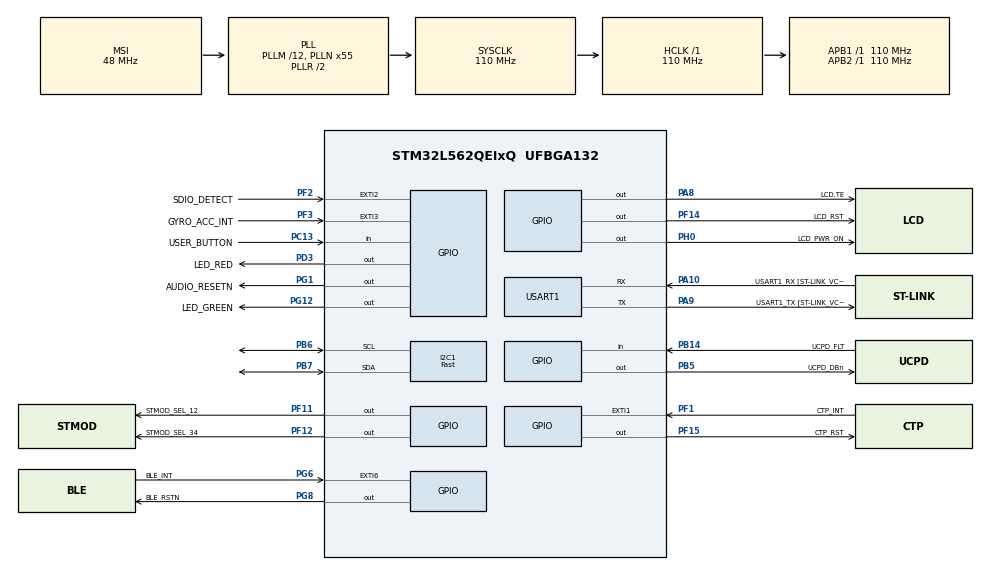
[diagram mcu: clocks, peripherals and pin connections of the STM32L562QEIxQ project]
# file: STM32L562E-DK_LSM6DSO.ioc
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I2C1.I2C_Speed_Mode=I2C_Fast
I2C1.Timing=0x00A03AC8
Mcu.Family=STM32L5
Mcu.Name=STM32L562QEIxQ
Mcu.Package=UFBGA132
Mcu.TrustZone=disable
NVIC.EXTI3_IRQn=true\:0\:0\:false\:false\:true\:true\:true\:true
NVIC.PriorityGroup=NVIC_PRIORITYGROUP_3
PA10.GPIO_Label=USART1_RX [ST-LINK_VCP_TX]
PA10.Mode=Asynchronous
PA10.Signal=USART1_RX
PA11.Signal=USB_DM
PA12.Signal=USB_DP
PA13\ (JTMS/SWDIO).Signal=DEBUG_JTMS-SWDIO
PA14\ (JTCK/SWCLK).Signal=DEBUG_JTCK-SWCLK
PA15\ (JTDI).Signal=UCPD1_CC1
PA2.Signal=OCTOSPI1_NCS
PA3.Signal=OCTOSPI1_CLK
PA4.GPIO_Label=VBUS_SENSE
PA4.Signal=ADCx_IN9
PA6.Signal=OCTOSPI1_IO3
PA7.Signal=OCTOSPI1_IO2
PA8.GPIO_Label=LCD.TE
PA8.Signal=GPIO_Output
PA9.GPIO_Label=USART1_TX [ST-LINK_VCP_RX]
PA9.Mode=Asynchronous
PA9.Signal=USART1_TX
PB0.Signal=OCTOSPI1_IO1
PB1.Signal=OCTOSPI1_IO0
PB10.Signal=LPUART1_RX
PB11.Signal=LPUART1_TX
PB12.Signal=S_DATAIN1DFSDM1
PB14.GPIO_Label=UCPD_FLT
PB14.Signal=GPIO_Input
PB15.Signal=UCPD1_CC2
PB2.Signal=OCTOSPI1_DQS
PB3\ (JTDO/TRACESWO).Signal=DEBUG_JTDO-SWO
PB5.GPIO_Label=UCPD_DBn
PB5.Signal=GPIO_Output
PB6.GPIO_Pu=GPIO_PULLUP
PB6.Mode=I2C
PB6.Signal=I2C1_SCL
PB7.GPIO_Pu=GPIO_PULLUP
PB7.Mode=I2C
PB7.Signal=I2C1_SDA
PC0.Signal=OCTOSPI1_IO7
PC1.Signal=OCTOSPI1_IO4
PC10.Signal=SDMMC1_D2
PC11.Signal=SDMMC1_D3
PC12.Signal=SDMMC1_CK
PC13.GPIO_Label=USER_BUTTON
PC13.Signal=GPIO_Input
PC14-OSC32_IN\ (PC14).Signal=RCC_OSC32_IN
PC15-OSC32_OUT\ (PC15).Signal=RCC_OSC32_OUT
PC2.Signal=OCTOSPI1_IO5
PC3.Signal=OCTOSPI1_IO6
PC8.Signal=SDMMC1_D0
PC9.Signal=SDMMC1_D1
PD0.Signal=FMC_D2_DA2
PD1.Signal=FMC_D3_DA3
PD10.Signal=FMC_D15_DA15
PD14.Signal=FMC_D0_DA0
PD15.Signal=FMC_D1_DA1
PD2.Signal=SDMMC1_CMD
PD3.GPIO_Label=LED_RED
PD3.Signal=GPIO_Output
PD4.Signal=FMC_NOE
PD5.Signal=FMC_NWE
PD7.Signal=FMC_NE1
PD8.Signal=FMC_D13_DA13
PD9.Signal=FMC_D14_DA14
PE1.GPIO_Label=LCD_BL_PWM
PE1.Signal=S_TIM17_CH1
PE10.Signal=FMC_D7_DA7
PE11.Signal=FMC_D8_DA8
PE12.Signal=FMC_D9_DA9
PE13.Signal=FMC_D10_DA10
PE14.Signal=FMC_D11_DA11
PE15.Signal=FMC_D12_DA12
PE2.Signal=SAI1_MCLK_A
PE3.Signal=SAI1_SD_B
PE4.Signal=SAI1_FS_A
PE5.Signal=SAI1_SCK_A
PE6.Signal=SAI1_SD_A
PE7.Signal=FMC_D4_DA4
PE8.Signal=FMC_D5_DA5
PE9.Signal=FMC_D6_DA6
PF0.Signal=FMC_A0
PF1.GPIO_Label=CTP_INT
PF1.Signal=GPXTI1
PF11.GPIO_Label=STMOD_SEL_12
PF11.Signal=GPIO_Output
PF12.GPIO_Label=STMOD_SEL_34
PF12.Signal=GPIO_Output
PF14.GPIO_Label=LCD_RST
PF14.Signal=GPIO_Output
PF15.GPIO_Label=CTP_RST
PF15.Signal=GPIO_Output
PF2.GPIO_Label=SDIO_DETECT
PF2.Signal=GPXTI2
PF3.GPIO_Label=GYRO_ACC_INT
PF3.Signal=GPXTI3
PG1.GPIO_Label=AUDIO_RESETN
PG1.Signal=GPIO_Output
PG12.GPIO_Label=LED_GREEN
PG12.Signal=GPIO_Output
PG2.Signal=SPI1_SCK
PG3.Signal=SPI1_MISO
PG4.Signal=SPI1_MOSI
PG5.GPIO_Label=BLE_CSN
PG5.Signal=SPI1_NSS
PG6.GPIO_Label=BLE_INT
PG6.Signal=GPXTI6
PG7.Signal=S_CKOUTDFSDM1
PG8.GPIO_Label=BLE_RSTN
PG8.Signal=GPIO_Output
PH0-OSC_IN\ (PH0).GPIO_Label=LCD_PWR_ON
PH0-OSC_IN\ (PH0).Signal=GPIO_Output
ProjectManager.HeapSize=0x200
ProjectManager.StackSize=0x400
ProjectManager.TargetToolchain=STM32CubeIDE
RCC.ADCFreq_Value=96000000
RCC.AHBFreq_Value=110000000
RCC.APB1Freq_Value=110000000
RCC.APB1TimFreq_Value=110000000
RCC.APB2Freq_Value=110000000
RCC.APB2TimFreq_Value=110000000
RCC.CK48CLockSelection=RCC_USBCLKSOURCE_MSI
RCC.CortexFreq_Value=110000000
RCC.HCLKFreq_Value=110000000
RCC.HSE_VALUE=8000000
RCC.HSI48_VALUE=48000000
RCC.HSI_VALUE=16000000
RCC.LSE_VALUE=32768
RCC.MSIClockRange=RCC_MSIRANGE_11
RCC.MSI_VALUE=48000000
RCC.PLLM=12
RCC.PLLN=55
RCC.PLLSAI1M=4
RCC.PLLSAI1N=48
RCC.PLLSAI1P=RCC_PLLP_DIV17
RCC.PLLSAI1Source=RCC_PLLSAI1SOURCE_HSI
RCC.SDMMCClockSelection=RCC_SDIOCLKSOURCE_CLK48
RCC.SYSCLKFreq_VALUE=110000000
RCC.SYSCLKSource=RCC_SYSCLKSOURCE_PLLCLK
RCC.USBFreq_Value=48000000
RCC.VCOOutputFreq_Value=220000000
SH.ADCx_IN9.0=ADC1_IN9
SH.FMC_A0.0=FMC_A0
SH.FMC_D0_DA0.0=FMC_DA0
SH.FMC_D0_DA0.1=FMC_D0
SH.FMC_D10_DA10.0=FMC_DA10
SH.FMC_D10_DA10.1=FMC_D10
SH.FMC_D11_DA11.0=FMC_DA11
SH.FMC_D11_DA11.1=FMC_D11
SH.FMC_D12_DA12.0=FMC_DA12
SH.FMC_D12_DA12.1=FMC_D12
SH.FMC_D13_DA13.0=FMC_DA13
SH.FMC_D13_DA13.1=FMC_D13
SH.FMC_D14_DA14.0=FMC_DA14
SH.FMC_D14_DA14.1=FMC_D14
SH.FMC_D15_DA15.0=FMC_DA15
SH.FMC_D15_DA15.1=FMC_D15
SH.FMC_D1_DA1.0=FMC_DA1
SH.FMC_D1_DA1.1=FMC_D1
SH.FMC_D2_DA2.0=FMC_DA2
SH.FMC_D2_DA2.1=FMC_D2
SH.FMC_D3_DA3.0=FMC_DA3
SH.FMC_D3_DA3.1=FMC_D3
SH.FMC_D4_DA4.0=FMC_DA4
SH.FMC_D4_DA4.1=FMC_D4
SH.FMC_D5_DA5.0=FMC_DA5
SH.FMC_D5_DA5.1=FMC_D5
SH.FMC_D6_DA6.0=FMC_DA6
SH.FMC_D6_DA6.1=FMC_D6
SH.FMC_D7_DA7.0=FMC_DA7
SH.FMC_D7_DA7.1=FMC_D7
SH.FMC_D8_DA8.0=FMC_DA8
SH.FMC_D8_DA8.1=FMC_D8
SH.FMC_D9_DA9.0=FMC_DA9
SH.FMC_D9_DA9.1=FMC_D9
SH.FMC_NOE.0=FMC_NOE
SH.FMC_NWE.0=FMC_NWE
SH.S_CKOUTDFSDM1.0=DFSDM1_CKOUT
SH.S_DATAIN1DFSDM1.0=DFSDM1_DATIN1
SH.S_TIM17_CH1.0=TIM17_CH1
USART1.VirtualMode-Asynchronous=VM_ASYNC
VP_PWR_VS_DBSignals.Mode=DisableDeadBatterySignals
board=STM32L562E-DK

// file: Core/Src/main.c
/**
  ******************************************************************************
  * Copyright (c) 2022 STMicroelectronics.
  * All rights reserved.
  *
  * This software is licensed under terms that can be found in the LICENSE file
  * in the root directory of this software component.
  * If no LICENSE file comes with this software, it is provided AS-IS.
  *
  ******************************************************************************
*/
#include "main.h"

/* USER CODE BEGIN Includes */
#include <string.h>
#include <stdio.h>
#include "lsm6dso_reg.h"
#include "cycle_dwt.h"
#include "NanoEdgeAI.h"

/* USER CODE END Includes */

/* USER CODE BEGIN PD */
/* Private define ------------------------------------------------------------*/
/************************************************************ NEAI algorithm defines begin ************************************************************/
/************************************************************ Global settings part ************************************************************/
#ifndef AXIS
  #define AXIS                          3                       /* Axis should be defined between 1 and 3 */
#endif
#ifndef SAMPLES
  #define SAMPLES                       128                     /* Should be between 16 & 4096 */
#endif
#define MAX_FIFO_SIZE                   256                     /* The maximum number of data we can get in the FIFO is 512 but here we define max to 256 for our need */
#define FIFO_FULL                       512                     /* FIFO full size */
#define FIFO_WORD                       7                       /* FIFO word size composed of 1 byte which is identification tag & 6 bytes of fixed data */
/************************************************************ Sensor type part ************************************************************/
#define ACCELEROMETER                                           /* Could be either ACCELEROMETER or GYROSCOPE */
/************************************************************ Sensors configuration part ************************************************************/
#ifdef ACCELEROMETER
  #ifndef ACCELEROMETER_ODR
    #define ACCELEROMETER_ODR           LSM6DSO_XL_ODR_1667Hz   /* Shoud be between LSM6DSO_XL_ODR_12Hz5 and LSM6DSO_XL_ODR_6667Hz */
  #endif
  #ifndef ACCELEROMETER_FS
    #define ACCELEROMETER_FS            LSM6DSO_2g              /* Should be between LSM6DSO_2g and LSM6DSO_16g */
  #endif
#else
  #ifndef GYROSCOPE_ODR
    #define GYROSCOPE_ODR               LSM6DSO_GY_ODR_1667Hz   /* Shoud be between LSM6DSO_GY_ODR_12Hz5 and LSM6DSO_GY_ODR_6667Hz */
  #endif
  #ifndef GYROSCOPE_FS
    #define GYROSCOPE_FS                LSM6DSO_2000dps         /* Should be between LSM6DSO_125dps and LSM6DSO_2000dps */
  #endif
#endif
/************************************************************ Datalogger / NEAI mode part ************************************************************/
#ifndef NEAI_MODE
  #define NEAI_MODE                     0                       /* 0: Datalogger mode, 1: NEAI functions mode */
#endif
#if (NEAI_MODE == 1)
  #ifndef NEAI_LEARN_NB
    #define NEAI_LEARN_NB               20                      /* Number of buffers to be learn by the NEAI library */
  #endif
#endif
/************************************************************ NEAI algorithm defines end ************************************************************/
/* USER CODE END PD */

I2C_HandleTypeDef hi2c1;

UART_HandleTypeDef huart1;

/* USER CODE BEGIN PV */
static uint8_t whoamI, rst;
uint8_t neai_similarity = 0, neai_state = 0;
volatile uint8_t drdy = 0;
uint16_t data_left = (uint16_t) SAMPLES, number_read = 0, neai_buffer_ptr = 0, neai_cnt = 0;
float neai_time = 0.0;
static float neai_buffer[AXIS * SAMPLES] = {0.0};
stmdev_ctx_t dev_ctx;

/* USER CODE END PV */

void SystemClock_Config(void);
static void MX_GPIO_Init(void);
static void MX_I2C1_Init(void);
static void MX_USART1_UART_Init(void);
/* USER CODE BEGIN PFP */
static int32_t platform_write(void *handle, uint8_t reg, const uint8_t *bufp, uint16_t len);
static int32_t platform_read(void *handle, uint8_t reg, uint8_t *bufp, uint16_t len);
static void lsm6dso_initialize(void);
static void lsm6dso_initialize_basics(void);
static void lsm6dso_initialize_fifo(void);
static void lsm6dso_get_buffer_from_fifo(uint16_t nb);
static float lsm6dso_convert_gyro_data_to_mdps(int16_t gyro_raw_data);
static float lsm6dso_convert_accel_data_to_mg(int16_t accel_raw_data);

/* USER CODE END PFP */

int main(void)
{
  /* USER CODE BEGIN 1 */
  /* Initialize mems driver interface */
  dev_ctx.write_reg = platform_write;
  dev_ctx.read_reg = platform_read;
  dev_ctx.handle = &hi2c1;

  /* USER CODE END 1 */

  /* MCU Configuration--------------------------------------------------------*/

  /* Reset of all peripherals, Initializes the Flash interface and the Systick. */
  HAL_Init();

  /* Configure the system clock */
  SystemClock_Config();

  /* Initialize all configured peripherals */
  MX_GPIO_Init();
  MX_I2C1_Init();
  MX_USART1_UART_Init();
  /* USER CODE BEGIN 2 */
  KIN1_InitCycleCounter();
  KIN1_EnableCycleCounter();
  lsm6dso_initialize();
  if (NEAI_MODE) {
    neai_state = neai_anomalydetection_init();
    printf("Initialize NEAI library. NEAI init return: %d.\n",  neai_state);
  }
  /* USER CODE END 2 */

  /* Infinite loop */
  /* USER CODE BEGIN WHILE */
  while (1)
  {
    uint8_t wtm_flag = 0, status2 = 0;
    uint16_t num = 0;
    if (drdy) {
      /* Reset data ready condition */
      drdy = 0;
      lsm6dso_read_reg(&dev_ctx, LSM6DSO_FIFO_STATUS2, &status2, 1);
      wtm_flag = status2 >> 7;
      if (wtm_flag) {
        lsm6dso_fifo_data_level_get(&dev_ctx, &num);
        if (data_left < num) {
          num = data_left;
        }
        lsm6dso_get_buffer_from_fifo(num);
        data_left -= num;
        number_read += num;
        if (data_left == 0) {
          lsm6dso_fifo_mode_set(&dev_ctx, LSM6DSO_BYPASS_MODE);
#if NEAI_MODE
          uint32_t cycles_cnt = 0;
          if (neai_cnt < NEAI_LEARN_NB) {
            neai_cnt++;
            KIN1_ResetCycleCounter();
            neai_state = neai_anomalydetection_learn(neai_buffer);
            cycles_cnt = KIN1_GetCycleCounter();
            neai_time = (cycles_cnt * 1000000.0) / HAL_RCC_GetSysClockFreq();
            printf("Learn: %d / %d. NEAI learn return: %d. Cycles counter: %ld = %.1f µs at %ld Hz.\n",
                  neai_cnt, NEAI_LEARN_NB, neai_state, cycles_cnt, neai_time, HAL_RCC_GetSysClockFreq());
          }
          else {
            KIN1_ResetCycleCounter();
            neai_state = neai_anomalydetection_detect(neai_buffer, &neai_similarity);
            cycles_cnt = KIN1_GetCycleCounter();
            neai_time = (cycles_cnt * 1000000.0) / HAL_RCC_GetSysClockFreq();
            printf("Similarity: %d / 100. NEAI detect return: %d. Cycles counter: %ld = %.1f µs at %ld Hz.\n",
                  neai_similarity, neai_state, cycles_cnt, neai_time, HAL_RCC_GetSysClockFreq());
          }
#else
          for (uint16_t i = 0; i < AXIS * SAMPLES; i++) {
            printf("%.3f ", neai_buffer[i]);
          }
          printf("\n");
#endif
          data_left = (uint16_t) SAMPLES;
          number_read = 0;
          memset(neai_buffer, 0x00, AXIS * SAMPLES * sizeof(float));
          if (SAMPLES <= MAX_FIFO_SIZE) {
            lsm6dso_fifo_watermark_set(&dev_ctx, (uint16_t) SAMPLES);
          }
          else {
            lsm6dso_fifo_watermark_set(&dev_ctx, (uint16_t) MAX_FIFO_SIZE);
          }
          lsm6dso_fifo_mode_set(&dev_ctx, LSM6DSO_FIFO_MODE);
        }
        else if (data_left < MAX_FIFO_SIZE) {
          lsm6dso_fifo_watermark_set(&dev_ctx, data_left);
        }
      }
    }
    /* USER CODE END WHILE */

  }
}

void SystemClock_Config(void)
{
  RCC_OscInitTypeDef RCC_OscInitStruct = {0};
  RCC_ClkInitTypeDef RCC_ClkInitStruct = {0};

  /** Configure the main internal regulator output voltage
  */
  if (HAL_PWREx_ControlVoltageScaling(PWR_REGULATOR_VOLTAGE_SCALE0) != HAL_OK)
  {
    Error_Handler();
  }

  /** Initializes the RCC Oscillators according to the specified parameters
  * in the RCC_OscInitTypeDef structure.
  */
  RCC_OscInitStruct.OscillatorType = RCC_OSCILLATORTYPE_MSI;
  RCC_OscInitStruct.MSIState = RCC_MSI_ON;
  RCC_OscInitStruct.MSICalibrationValue = RCC_MSICALIBRATION_DEFAULT;
  RCC_OscInitStruct.MSIClockRange = RCC_MSIRANGE_11;
  RCC_OscInitStruct.PLL.PLLState = RCC_PLL_ON;
  RCC_OscInitStruct.PLL.PLLSource = RCC_PLLSOURCE_MSI;
  RCC_OscInitStruct.PLL.PLLM = 12;
  RCC_OscInitStruct.PLL.PLLN = 55;
  RCC_OscInitStruct.PLL.PLLP = RCC_PLLP_DIV7;
  RCC_OscInitStruct.PLL.PLLQ = RCC_PLLQ_DIV2;
  RCC_OscInitStruct.PLL.PLLR = RCC_PLLR_DIV2;
  if (HAL_RCC_OscConfig(&RCC_OscInitStruct) != HAL_OK)
  {
    Error_Handler();
  }

  /** Initializes the CPU, AHB and APB buses clocks
  */
  RCC_ClkInitStruct.ClockType = RCC_CLOCKTYPE_HCLK|RCC_CLOCKTYPE_SYSCLK
                              |RCC_CLOCKTYPE_PCLK1|RCC_CLOCKTYPE_PCLK2;
  RCC_ClkInitStruct.SYSCLKSource = RCC_SYSCLKSOURCE_PLLCLK;
  RCC_ClkInitStruct.AHBCLKDivider = RCC_SYSCLK_DIV1;
  RCC_ClkInitStruct.APB1CLKDivider = RCC_HCLK_DIV1;
  RCC_ClkInitStruct.APB2CLKDivider = RCC_HCLK_DIV1;

  if (HAL_RCC_ClockConfig(&RCC_ClkInitStruct, FLASH_LATENCY_5) != HAL_OK)
  {
    Error_Handler();
  }
}

static void MX_I2C1_Init(void)
{

  hi2c1.Instance = I2C1;
  hi2c1.Init.Timing = 0x00A03AC8;
  hi2c1.Init.OwnAddress1 = 0;
  hi2c1.Init.AddressingMode = I2C_ADDRESSINGMODE_7BIT;
  hi2c1.Init.DualAddressMode = I2C_DUALADDRESS_DISABLE;
  hi2c1.Init.OwnAddress2 = 0;
  hi2c1.Init.OwnAddress2Masks = I2C_OA2_NOMASK;
  hi2c1.Init.GeneralCallMode = I2C_GENERALCALL_DISABLE;
  hi2c1.Init.NoStretchMode = I2C_NOSTRETCH_DISABLE;
  if (HAL_I2C_Init(&hi2c1) != HAL_OK)
  {
    Error_Handler();
  }

  /** Configure Analogue filter
  */
  if (HAL_I2CEx_ConfigAnalogFilter(&hi2c1, I2C_ANALOGFILTER_ENABLE) != HAL_OK)
  {
    Error_Handler();
  }

  /** Configure Digital filter
  */
  if (HAL_I2CEx_ConfigDigitalFilter(&hi2c1, 0) != HAL_OK)
  {
    Error_Handler();
  }

}

static void MX_USART1_UART_Init(void)
{

  huart1.Instance = USART1;
  huart1.Init.BaudRate = 115200;
  huart1.Init.WordLength = UART_WORDLENGTH_8B;
  huart1.Init.StopBits = UART_STOPBITS_1;
  huart1.Init.Parity = UART_PARITY_NONE;
  huart1.Init.Mode = UART_MODE_TX_RX;
  huart1.Init.HwFlowCtl = UART_HWCONTROL_NONE;
  huart1.Init.OverSampling = UART_OVERSAMPLING_16;
  huart1.Init.OneBitSampling = UART_ONE_BIT_SAMPLE_DISABLE;
  huart1.Init.ClockPrescaler = UART_PRESCALER_DIV1;
  huart1.AdvancedInit.AdvFeatureInit = UART_ADVFEATURE_NO_INIT;
  if (HAL_UART_Init(&huart1) != HAL_OK)
  {
    Error_Handler();
  }
  if (HAL_UARTEx_SetTxFifoThreshold(&huart1, UART_TXFIFO_THRESHOLD_1_8) != HAL_OK)
  {
    Error_Handler();
  }
  if (HAL_UARTEx_SetRxFifoThreshold(&huart1, UART_RXFIFO_THRESHOLD_1_8) != HAL_OK)
  {
    Error_Handler();
  }
  if (HAL_UARTEx_DisableFifoMode(&huart1) != HAL_OK)
  {
    Error_Handler();
  }

}

static void MX_GPIO_Init(void)
{
  GPIO_InitTypeDef GPIO_InitStruct = {0};

  /* GPIO Ports Clock Enable */
  __HAL_RCC_GPIOE_CLK_ENABLE();
  __HAL_RCC_GPIOB_CLK_ENABLE();
  __HAL_RCC_GPIOG_CLK_ENABLE();
  HAL_PWREx_EnableVddIO2();
  __HAL_RCC_GPIOD_CLK_ENABLE();
  __HAL_RCC_GPIOC_CLK_ENABLE();
  __HAL_RCC_GPIOA_CLK_ENABLE();
  __HAL_RCC_GPIOF_CLK_ENABLE();
  __HAL_RCC_GPIOH_CLK_ENABLE();

  /*Configure GPIO pin Output Level */
  HAL_GPIO_WritePin(GPIOG, LED_GREEN_Pin|BLE_RSTN_Pin|AUDIO_RESETN_Pin, GPIO_PIN_RESET);

  /*Configure GPIO pin Output Level */
  HAL_GPIO_WritePin(LED_RED_GPIO_Port, LED_RED_Pin, GPIO_PIN_RESET);

  /*Configure GPIO pin Output Level */
  HAL_GPIO_WritePin(UCPD_DBn_GPIO_Port, UCPD_DBn_Pin, GPIO_PIN_RESET);

  /*Configure GPIO pin Output Level */
  HAL_GPIO_WritePin(LCD_TE_GPIO_Port, LCD_TE_Pin, GPIO_PIN_RESET);

  /*Configure GPIO pin Output Level */
  HAL_GPIO_WritePin(LCD_PWR_ON_GPIO_Port, LCD_PWR_ON_Pin, GPIO_PIN_RESET);

  /*Configure GPIO pin Output Level */
  HAL_GPIO_WritePin(GPIOF, LCD_RST_Pin|STMOD_SEL_12_Pin|STMOD_SEL_34_Pin|CTP_RST_Pin, GPIO_PIN_RESET);

  /*Configure GPIO pins : PE5 PE3 PE4 PE2
                           PE6 */
  GPIO_InitStruct.Pin = GPIO_PIN_5|GPIO_PIN_3|GPIO_PIN_4|GPIO_PIN_2
                          |GPIO_PIN_6;
  GPIO_InitStruct.Mode = GPIO_MODE_AF_PP;
  GPIO_InitStruct.Pull = GPIO_NOPULL;
  GPIO_InitStruct.Speed = GPIO_SPEED_FREQ_LOW;
  GPIO_InitStruct.Alternate = GPIO_AF13_SAI1;
  HAL_GPIO_Init(GPIOE, &GPIO_InitStruct);

  /*Configure GPIO pin : LCD_BL_PWM_Pin */
  GPIO_InitStruct.Pin = LCD_BL_PWM_Pin;
  GPIO_InitStruct.Mode = GPIO_MODE_AF_PP;
  GPIO_InitStruct.Pull = GPIO_NOPULL;
  GPIO_InitStruct.Speed = GPIO_SPEED_FREQ_LOW;
  GPIO_InitStruct.Alternate = GPIO_AF14_TIM17;
  HAL_GPIO_Init(LCD_BL_PWM_GPIO_Port, &GPIO_InitStruct);

  /*Configure GPIO pins : LED_GREEN_Pin BLE_RSTN_Pin AUDIO_RESETN_Pin */
  GPIO_InitStruct.Pin = LED_GREEN_Pin|BLE_RSTN_Pin|AUDIO_RESETN_Pin;
  GPIO_InitStruct.Mode = GPIO_MODE_OUTPUT_PP;
  GPIO_InitStruct.Pull = GPIO_NOPULL;
  GPIO_InitStruct.Speed = GPIO_SPEED_FREQ_LOW;
  HAL_GPIO_Init(GPIOG, &GPIO_InitStruct);

  /*Configure GPIO pins : PD5 PD4 PD1 PD0
                           PD7 PD14 PD15 PD9
                           PD8 PD10 */
  GPIO_InitStruct.Pin = GPIO_PIN_5|GPIO_PIN_4|GPIO_PIN_1|GPIO_PIN_0
                          |GPIO_PIN_7|GPIO_PIN_14|GPIO_PIN_15|GPIO_PIN_9
                          |GPIO_PIN_8|GPIO_PIN_10;
  GPIO_InitStruct.Mode = GPIO_MODE_AF_PP;
  GPIO_InitStruct.Pull = GPIO_NOPULL;
  GPIO_InitStruct.Speed = GPIO_SPEED_FREQ_VERY_HIGH;
  GPIO_InitStruct.Alternate = GPIO_AF12_FMC;
  HAL_GPIO_Init(GPIOD, &GPIO_InitStruct);

  /*Configure GPIO pin : PD2 */
  GPIO_InitStruct.Pin = GPIO_PIN_2;
  GPIO_InitStruct.Mode = GPIO_MODE_AF_PP;
  GPIO_InitStruct.Pull = GPIO_NOPULL;
  GPIO_InitStruct.Speed = GPIO_SPEED_FREQ_VERY_HIGH;
  GPIO_InitStruct.Alternate = GPIO_AF12_SDMMC1;
  HAL_GPIO_Init(GPIOD, &GPIO_InitStruct);

  /*Configure GPIO pins : PC11 PC12 PC10 PC9
                           PC8 */
  GPIO_InitStruct.Pin = GPIO_PIN_11|GPIO_PIN_12|GPIO_PIN_10|GPIO_PIN_9
                          |GPIO_PIN_8;
  GPIO_InitStruct.Mode = GPIO_MODE_AF_PP;
  GPIO_InitStruct.Pull = GPIO_NOPULL;
  GPIO_InitStruct.Speed = GPIO_SPEED_FREQ_VERY_HIGH;
  GPIO_InitStruct.Alternate = GPIO_AF12_SDMMC1;
  HAL_GPIO_Init(GPIOC, &GPIO_InitStruct);

  /*Configure GPIO pins : PA15 VBUS_SENSE_Pin */
  GPIO_InitStruct.Pin = GPIO_PIN_15|VBUS_SENSE_Pin;
  GPIO_InitStruct.Mode = GPIO_MODE_ANALOG;
  GPIO_InitStruct.Pull = GPIO_NOPULL;
  HAL_GPIO_Init(GPIOA, &GPIO_InitStruct);

  /*Configure GPIO pins : PA12 PA11 */
  GPIO_InitStruct.Pin = GPIO_PIN_12|GPIO_PIN_11;
  GPIO_InitStruct.Mode = GPIO_MODE_AF_PP;
  GPIO_InitStruct.Pull = GPIO_NOPULL;
  GPIO_InitStruct.Speed = GPIO_SPEED_FREQ_LOW;
  GPIO_InitStruct.Alternate = GPIO_AF10_USB;
  HAL_GPIO_Init(GPIOA, &GPIO_InitStruct);

  /*Configure GPIO pin : USER_BUTTON_Pin */
  GPIO_InitStruct.Pin = USER_BUTTON_Pin;
  GPIO_InitStruct.Mode = GPIO_MODE_INPUT;
  GPIO_InitStruct.Pull = GPIO_NOPULL;
  HAL_GPIO_Init(USER_BUTTON_GPIO_Port, &GPIO_InitStruct);

  /*Configure GPIO pin : LED_RED_Pin */
  GPIO_InitStruct.Pin = LED_RED_Pin;
  GPIO_InitStruct.Mode = GPIO_MODE_OUTPUT_PP;
  GPIO_InitStruct.Pull = GPIO_NOPULL;
  GPIO_InitStruct.Speed = GPIO_SPEED_FREQ_LOW;
  HAL_GPIO_Init(LED_RED_GPIO_Port, &GPIO_InitStruct);

  /*Configure GPIO pin : PF0 */
  GPIO_InitStruct.Pin = GPIO_PIN_0;
  GPIO_InitStruct.Mode = GPIO_MODE_AF_PP;
  GPIO_InitStruct.Pull = GPIO_NOPULL;
  GPIO_InitStruct.Speed = GPIO_SPEED_FREQ_VERY_HIGH;
  GPIO_InitStruct.Alternate = GPIO_AF12_FMC;
  HAL_GPIO_Init(GPIOF, &GPIO_InitStruct);

  /*Configure GPIO pins : GYRO_ACC_INT_Pin SDIO_DETECT_Pin CTP_INT_Pin */
  GPIO_InitStruct.Pin = GYRO_ACC_INT_Pin|SDIO_DETECT_Pin|CTP_INT_Pin;
  GPIO_InitStruct.Mode = GPIO_MODE_IT_RISING;
  GPIO_InitStruct.Pull = GPIO_NOPULL;
  HAL_GPIO_Init(GPIOF, &GPIO_InitStruct);

  /*Configure GPIO pin : UCPD_DBn_Pin */
  GPIO_InitStruct.Pin = UCPD_DBn_Pin;
  GPIO_InitStruct.Mode = GPIO_MODE_OUTPUT_PP;
  GPIO_InitStruct.Pull = GPIO_NOPULL;
  GPIO_InitStruct.Speed = GPIO_SPEED_FREQ_LOW;
  HAL_GPIO_Init(UCPD_DBn_GPIO_Port, &GPIO_InitStruct);

  /*Configure GPIO pin : LCD_TE_Pin */
  GPIO_InitStruct.Pin = LCD_TE_Pin;
  GPIO_InitStruct.Mode = GPIO_MODE_OUTPUT_PP;
  GPIO_InitStruct.Pull = GPIO_NOPULL;
  GPIO_InitStruct.Speed = GPIO_SPEED_FREQ_LOW;
  HAL_GPIO_Init(LCD_TE_GPIO_Port, &GPIO_InitStruct);

  /*Configure GPIO pin : LCD_PWR_ON_Pin */
  GPIO_InitStruct.Pin = LCD_PWR_ON_Pin;
  GPIO_InitStruct.Mode = GPIO_MODE_OUTPUT_PP;
  GPIO_InitStruct.Pull = GPIO_NOPULL;
  GPIO_InitStruct.Speed = GPIO_SPEED_FREQ_LOW;
  HAL_GPIO_Init(LCD_PWR_ON_GPIO_Port, &GPIO_InitStruct);

  /*Configure GPIO pins : PC2 PC3 PC1 */
  GPIO_InitStruct.Pin = GPIO_PIN_2|GPIO_PIN_3|GPIO_PIN_1;
  GPIO_InitStruct.Mode = GPIO_MODE_AF_PP;
  GPIO_InitStruct.Pull = GPIO_NOPULL;
  GPIO_InitStruct.Speed = GPIO_SPEED_FREQ_VERY_HIGH;
  GPIO_InitStruct.Alternate = GPIO_AF10_OCTOSPI1;
  HAL_GPIO_Init(GPIOC, &GPIO_InitStruct);

  /*Configure GPIO pin : BLE_INT_Pin */
  GPIO_InitStruct.Pin = BLE_INT_Pin;
  GPIO_InitStruct.Mode = GPIO_MODE_IT_RISING;
  GPIO_InitStruct.Pull = GPIO_NOPULL;
  HAL_GPIO_Init(BLE_INT_GPIO_Port, &GPIO_InitStruct);

  /*Configure GPIO pin : PG7 */
  GPIO_InitStruct.Pin = GPIO_PIN_7;
  GPIO_InitStruct.Mode = GPIO_MODE_AF_PP;
  GPIO_InitStruct.Pull = GPIO_NOPULL;
  GPIO_InitStruct.Speed = GPIO_SPEED_FREQ_LOW;
  GPIO_InitStruct.Alternate = GPIO_AF6_DFSDM1;
  HAL_GPIO_Init(GPIOG, &GPIO_InitStruct);

  /*Configure GPIO pins : PG4 PG2 PG3 BLE_CSN_Pin */
  GPIO_InitStruct.Pin = GPIO_PIN_4|GPIO_PIN_2|GPIO_PIN_3|BLE_CSN_Pin;
  GPIO_InitStruct.Mode = GPIO_MODE_AF_PP;
  GPIO_InitStruct.Pull = GPIO_NOPULL;
  GPIO_InitStruct.Speed = GPIO_SPEED_FREQ_LOW;
  GPIO_InitStruct.Alternate = GPIO_AF5_SPI1;
  HAL_GPIO_Init(GPIOG, &GPIO_InitStruct);

  /*Configure GPIO pin : PC0 */
  GPIO_InitStruct.Pin = GPIO_PIN_0;
  GPIO_InitStruct.Mode = GPIO_MODE_AF_PP;
  GPIO_InitStruct.Pull = GPIO_NOPULL;
  GPIO_InitStruct.Speed = GPIO_SPEED_FREQ_VERY_HIGH;
  GPIO_InitStruct.Alternate = GPIO_AF3_OCTOSPI1;
  HAL_GPIO_Init(GPIOC, &GPIO_InitStruct);

  /*Configure GPIO pins : LCD_RST_Pin STMOD_SEL_12_Pin STMOD_SEL_34_Pin CTP_RST_Pin */
  GPIO_InitStruct.Pin = LCD_RST_Pin|STMOD_SEL_12_Pin|STMOD_SEL_34_Pin|CTP_RST_Pin;
  GPIO_InitStruct.Mode = GPIO_MODE_OUTPUT_PP;
  GPIO_InitStruct.Pull = GPIO_NOPULL;
  GPIO_InitStruct.Speed = GPIO_SPEED_FREQ_LOW;
  HAL_GPIO_Init(GPIOF, &GPIO_InitStruct);

  /*Configure GPIO pins : PE8 PE10 PE12 PE7
                           PE14 PE11 PE15 PE9
                           PE13 */
  GPIO_InitStruct.Pin = GPIO_PIN_8|GPIO_PIN_10|GPIO_PIN_12|GPIO_PIN_7
                          |GPIO_PIN_14|GPIO_PIN_11|GPIO_PIN_15|GPIO_PIN_9
                          |GPIO_PIN_13;
  GPIO_InitStruct.Mode = GPIO_MODE_AF_PP;
  GPIO_InitStruct.Pull = GPIO_NOPULL;
  GPIO_InitStruct.Speed = GPIO_SPEED_FREQ_VERY_HIGH;
  GPIO_InitStruct.Alternate = GPIO_AF12_FMC;
  HAL_GPIO_Init(GPIOE, &GPIO_InitStruct);

  /*Configure GPIO pins : PA2 PA7 PA3 PA6 */
  GPIO_InitStruct.Pin = GPIO_PIN_2|GPIO_PIN_7|GPIO_PIN_3|GPIO_PIN_6;
  GPIO_InitStruct.Mode = GPIO_MODE_AF_PP;
  GPIO_InitStruct.Pull = GPIO_NOPULL;
  GPIO_InitStruct.Speed = GPIO_SPEED_FREQ_VERY_HIGH;
  GPIO_InitStruct.Alternate = GPIO_AF10_OCTOSPI1;
  HAL_GPIO_Init(GPIOA, &GPIO_InitStruct);

  /*Configure GPIO pins : PB2 PB1 PB0 */
  GPIO_InitStruct.Pin = GPIO_PIN_2|GPIO_PIN_1|GPIO_PIN_0;
  GPIO_InitStruct.Mode = GPIO_MODE_AF_PP;
  GPIO_InitStruct.Pull = GPIO_NOPULL;
  GPIO_InitStruct.Speed = GPIO_SPEED_FREQ_VERY_HIGH;
  GPIO_InitStruct.Alternate = GPIO_AF10_OCTOSPI1;
  HAL_GPIO_Init(GPIOB, &GPIO_InitStruct);

  /*Configure GPIO pins : PB10 PB11 */
  GPIO_InitStruct.Pin = GPIO_PIN_10|GPIO_PIN_11;
  GPIO_InitStruct.Mode = GPIO_MODE_AF_PP;
  GPIO_InitStruct.Pull = GPIO_NOPULL;
  GPIO_InitStruct.Speed = GPIO_SPEED_FREQ_LOW;
  GPIO_InitStruct.Alternate = GPIO_AF8_LPUART1;
  HAL_GPIO_Init(GPIOB, &GPIO_InitStruct);

  /*Configure GPIO pin : UCPD_FLT_Pin */
  GPIO_InitStruct.Pin = UCPD_FLT_Pin;
  GPIO_InitStruct.Mode = GPIO_MODE_INPUT;
  GPIO_InitStruct.Pull = GPIO_NOPULL;
  HAL_GPIO_Init(UCPD_FLT_GPIO_Port, &GPIO_InitStruct);

  /*Configure GPIO pin : PB15 */
  GPIO_InitStruct.Pin = GPIO_PIN_15;
  GPIO_InitStruct.Mode = GPIO_MODE_ANALOG;
  GPIO_InitStruct.Pull = GPIO_NOPULL;
  HAL_GPIO_Init(GPIOB, &GPIO_InitStruct);

  /*Configure GPIO pin : PB12 */
  GPIO_InitStruct.Pin = GPIO_PIN_12;
  GPIO_InitStruct.Mode = GPIO_MODE_AF_PP;
  GPIO_InitStruct.Pull = GPIO_NOPULL;
  GPIO_InitStruct.Speed = GPIO_SPEED_FREQ_LOW;
  GPIO_InitStruct.Alternate = GPIO_AF6_DFSDM1;
  HAL_GPIO_Init(GPIOB, &GPIO_InitStruct);

  /* EXTI interrupt init*/
  HAL_NVIC_SetPriority(EXTI3_IRQn, 0, 0);
  HAL_NVIC_EnableIRQ(EXTI3_IRQn);

}

/* USER CODE BEGIN 4 */
/**
  * @brief  Redirecting stdout to USART1 which is connected on the STLINK port
  * @retval
  * @param
  */
int __io_putchar(int ch)
{
 uint8_t c[1];
 c[0] = ch & 0x00FF;
 HAL_UART_Transmit(&huart1, &*c, 1, 10);
 return ch;
}

/**
  * @brief  EXTI line rising detection callback.
  * @param  GPIO_Pin Specifies the port pin connected to corresponding EXTI line.
  * @retval None
  */
void HAL_GPIO_EXTI_Rising_Callback(uint16_t GPIO_Pin)
{
  switch(GPIO_Pin) {
  case GYRO_ACC_INT_Pin:
    drdy = 1;
    break;
  }
}

/*
 * @brief  Write generic device register (platform dependent)
 *
 * @param  handle    customizable argument. In this examples is used in
 *                   order to select the correct sensor bus handler.
 * @param  reg       register to write
 * @param  bufp      pointer to data to write in register reg
 * @param  len       number of consecutive register to write
 *
 */
static int32_t platform_write(void *handle, uint8_t reg, const uint8_t *bufp,
                              uint16_t len)
{
  HAL_I2C_Mem_Write(handle, LSM6DSO_I2C_ADD_L, reg, I2C_MEMADD_SIZE_8BIT, (uint8_t*) bufp, len, 1000);
  return 0;
}

/*
 * @brief  Read generic device register (platform dependent)
 *
 * @param  handle    customizable argument. In this examples is used in
 *                   order to select the correct sensor bus handler.
 * @param  reg       register to read
 * @param  bufp      pointer to buffer that store the data read
 * @param  len       number of consecutive register to read
 *
 */
static int32_t platform_read(void *handle, uint8_t reg, uint8_t *bufp,
                             uint16_t len)
{
  HAL_I2C_Mem_Read(handle, LSM6DSO_I2C_ADD_L, reg, I2C_MEMADD_SIZE_8BIT, bufp, len, 1000);
  return 0;
}

/*
 * @brief  Initialize LSM6DSO sensor interface
 *
 * @param  No
 *
 * @return No
 *
 */
static void lsm6dso_initialize()
{
  lsm6dso_initialize_basics();
#ifdef ACCELEROMETER
  /* Accelelerometer configuration */
  lsm6dso_xl_data_rate_set(&dev_ctx, ACCELEROMETER_ODR);
  lsm6dso_xl_full_scale_set(&dev_ctx, ACCELEROMETER_FS);
#else
  /* Gyroscope configuration */
  lsm6dso_gy_data_rate_set(&dev_ctx, GYROSCOPE_ODR);
  lsm6dso_gy_full_scale_set(&dev_ctx, GYROSCOPE_FS);
#endif
  lsm6dso_initialize_fifo();
}

/*
 * @brief  Initialize LSM6DSO basics
 *
 * @param  No
 *
 * @return No
 *
 */
static void lsm6dso_initialize_basics()
{
  /* Check device ID */
  whoamI = 0;

  do {
    /* Wait sensor boot time */
    HAL_Delay(10);
    lsm6dso_device_id_get(&dev_ctx, &whoamI);
  } while (whoamI != LSM6DSO_ID);

  /* Restore default configuration */
  lsm6dso_reset_set(&dev_ctx, PROPERTY_ENABLE);

  do {
    lsm6dso_reset_get(&dev_ctx, &rst);
  } while (rst);

  /* Disable I3C interface */
  lsm6dso_i3c_disable_set(&dev_ctx, LSM6DSO_I3C_DISABLE);
}

/*
 * @brief  Initialize LSM6DSO internal FIFO
 *
 * @param  No
 *
 * @return No
 *
 */
static void lsm6dso_initialize_fifo()
{
#ifdef ACCELEROMETER
  /* Batch odr config */
  lsm6dso_fifo_xl_batch_set(&dev_ctx, ACCELEROMETER_ODR);
  lsm6dso_fifo_gy_batch_set(&dev_ctx, 0);
#else
  /* Batch odr config */
  lsm6dso_fifo_xl_batch_set(&dev_ctx, 0);
  lsm6dso_fifo_gy_batch_set(&dev_ctx, GYROSCOPE_ODR);
#endif
  /* FIFO MODE */
  lsm6dso_fifo_mode_set(&dev_ctx, LSM6DSO_FIFO_MODE);
  /* Watermark config */
  if (SAMPLES <= MAX_FIFO_SIZE) {
    lsm6dso_fifo_watermark_set(&dev_ctx, (uint16_t) SAMPLES);
  }
  else {
    lsm6dso_fifo_watermark_set(&dev_ctx, (uint16_t) MAX_FIFO_SIZE);
  }
  /* Need to enable interrupt pin when wtm is reached */
  uint8_t ctrl = 0x08;
  lsm6dso_write_reg(&dev_ctx, LSM6DSO_INT1_CTRL, (uint8_t *) &ctrl, 1);
}

/*
 * @brief  Get accelerometer or gyroscope data from
 *         LSM6DSO using the internal FIFO buffer
 *
 * @param  No
 *
 * @return No
 *
 */
static void lsm6dso_get_buffer_from_fifo(uint16_t nb)
{
  uint8_t reg_tag = 0;
  uint8_t buff_tmp[nb * FIFO_WORD];
  /*
   * The data stored in FIFO are accessible from dedicated registers and each FIFO word is composed of 7
   * bytes: one tag byte (FIFO_DATA_OUT_TAG (78h)), in order to identify the sensor, and 6 bytes of fixed data
   * (FIFO_DATA_OUT registers from (79h) to (7Eh))
   * So, here we read the fifo in only one transaction in order to save time
   */
  lsm6dso_read_reg(&dev_ctx, LSM6DSO_FIFO_DATA_OUT_TAG, buff_tmp, nb * FIFO_WORD);
  for (uint16_t i = 0; i < nb; i++) {
    /* According to the datasheet, the TAG_SENSOR is the 5 MSB of the FIFO_DATA_OUT_TAG register, so we shift 3 bits to the right */
    reg_tag = buff_tmp[FIFO_WORD * i] >> 3;
    if(reg_tag == LSM6DSO_XL_NC_TAG) {
      for(uint8_t j = 0; j < AXIS; j++) {
	neai_buffer[(AXIS * neai_buffer_ptr) + (AXIS * i) + j] = lsm6dso_convert_accel_data_to_mg((uint16_t) buff_tmp[(FIFO_WORD * i) + (2 * j) + 2] << 8 | buff_tmp[(FIFO_WORD * i) + (2 * j) + 1]);
      }
    }
    else if(reg_tag == LSM6DSO_GYRO_NC_TAG) {
      for(uint8_t j = 0; j < AXIS; j++) {
	neai_buffer[(AXIS * neai_buffer_ptr) + (AXIS * i) + j] = lsm6dso_convert_gyro_data_to_mdps((uint16_t) buff_tmp[(FIFO_WORD * i) + (2 * j) + 2] << 8 | buff_tmp[(FIFO_WORD * i) + (2 * j) + 1]);
      }
    }
  }
  neai_buffer_ptr += nb;
  if (neai_buffer_ptr == SAMPLES) {
    neai_buffer_ptr = 0;
  }
}

/*
 * @brief  Convert gyroscope raw data to milli degrees per second (mdps)
 *
 * @param  gyro_raw_data: which is gyroscope raw data
 *                        depending on the full scale selected
 *
 * @return The converted value in milli degrees per second (mdps)
 *
 */
static float lsm6dso_convert_gyro_data_to_mdps(int16_t gyro_raw_data)
{
  float gyro_data_mdps = 0.0;
#ifdef GYROSCOPE
  switch (GYROSCOPE_FS)
  {
  case LSM6DSO_125dps:
    gyro_data_mdps = lsm6dso_from_fs125_to_mdps(gyro_raw_data);
    break;
  case LSM6DSO_250dps:
    gyro_data_mdps = lsm6dso_from_fs250_to_mdps(gyro_raw_data);
    break;
  case LSM6DSO_500dps:
    gyro_data_mdps = lsm6dso_from_fs500_to_mdps(gyro_raw_data);
    break;
  case LSM6DSO_1000dps:
    gyro_data_mdps = lsm6dso_from_fs1000_to_mdps(gyro_raw_data);
    break;
  case LSM6DSO_2000dps:
    gyro_data_mdps = lsm6dso_from_fs2000_to_mdps(gyro_raw_data);
    break;
  default:
    gyro_data_mdps = 0.0;
    break;
  }
#endif
  return gyro_data_mdps;
}

/*
 * @brief  Convert accelerometer raw data to milli-G' (mg)
 *
 * @param  accel_raw_data: which is accelerometer raw data
 *                        depending on the full scale selected
 *
 * @return The converted value in milli-G' (mg)
 *
 */
static float lsm6dso_convert_accel_data_to_mg(int16_t accel_raw_data)
{
  float accel_data_mg = 0.0;
#ifdef ACCELEROMETER
  switch (ACCELEROMETER_FS)
  {
  case LSM6DSO_2g:
    accel_data_mg = lsm6dso_from_fs2_to_mg(accel_raw_data);
    break;
  case LSM6DSO_4g:
    accel_data_mg = lsm6dso_from_fs4_to_mg(accel_raw_data);
    break;
  case LSM6DSO_8g:
    accel_data_mg = lsm6dso_from_fs8_to_mg(accel_raw_data);
    break;
  case LSM6DSO_16g:
    accel_data_mg = lsm6dso_from_fs16_to_mg(accel_raw_data);
    break;
  default:
    accel_data_mg = 0.0;
    break;
  }
#endif
  return accel_data_mg;
}

/* USER CODE END 4 */

void Error_Handler(void)
{
  __disable_irq();
  while (1)
  {
  }
}
